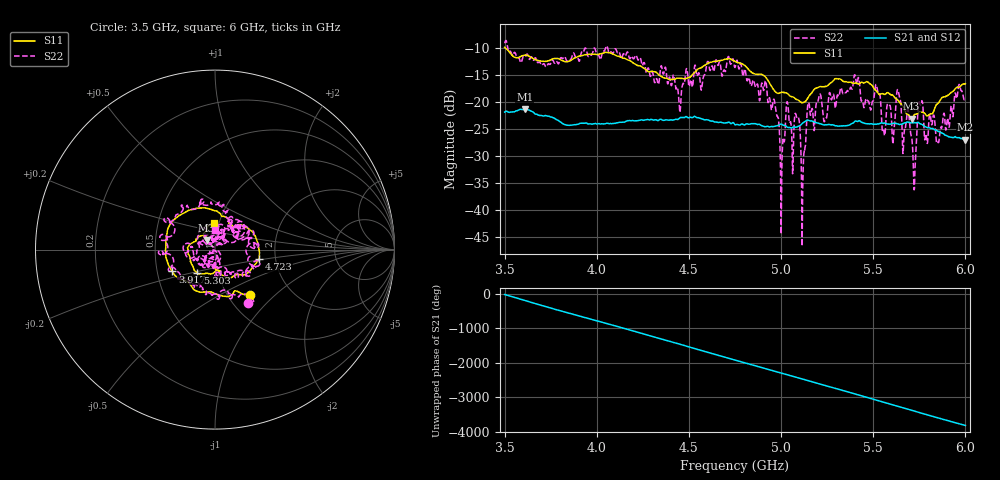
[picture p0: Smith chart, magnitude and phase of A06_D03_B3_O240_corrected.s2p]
! Created with skrf 1.9.0 (http://scikit-rf.org).
# Hz S RI R 50.0
!freq ReS11 ImS11 ReS21 ImS21 ReS12 ImS12 ReS22 ImS22
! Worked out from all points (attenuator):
!   1601 points, 3.5 GHz to 6 GHz, reference 50 ohm
!   highest |S21| = -21.39 dB at 3.609 GHz (marker M1); lowest = -27.0 dB at 6 GHz (marker M2)
!   lowest |S11| = -23.1 dB at 5.708 GHz (marker M3), VSWR 1.15, Z = 45.3 + j4.73 ohm
!   |S11| at or under -10 dB: 3.504 GHz to end of sweep
!   |S22| runs from -46.8 to -8.6 dB; largest |S21 - S12| = 0.0011
!   S11 on the Smith chart (normalised r, x): 3.5 GHz: 1.26, -0.71; 3.917 GHz: 0.60, -0.16; 4.723 GHz: 1.63, -0.18; 5.303 GHz: 0.79, -0.21; 6 GHz: 0.94, +0.28
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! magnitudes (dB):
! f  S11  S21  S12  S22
! 3.5 GHz  -9.9  -21.9  -21.9  -9.1
! 3.609 GHz  -11.3  -21.4  -21.4  -11.8
! 3.917 GHz  -11.5  -24.0  -24.0  -10.8
! 4.334 GHz  -14.9  -23.5  -23.4  -16.8
! 4.723 GHz  -12.1  -23.9  -23.9  -12.8
! 4.75 GHz  -12.5  -24.2  -24.2  -13.6
! 4.966 GHz  -18.0  -24.5  -24.5  -20.1
! 5.006 GHz  -18.2  -24.2  -24.2  -29.4
! 5.037 GHz  -18.6  -24.7  -24.7  -20.8
! 5.091 GHz  -19.7  -24.6  -24.6  -22.7
! 5.12 GHz  -20.1  -23.9  -23.8  -32.0
! 5.145 GHz  -19.3  -23.4  -23.4  -20.5
! 5.167 GHz  -18.3  -23.6  -23.5  -21.3
! 5.303 GHz  -15.7  -24.5  -24.4  -19.1
! 5.584 GHz  -18.4  -24.1  -24.1  -20.5
! 5.609 GHz  -18.9  -24.0  -23.9  -26.7
! 5.638 GHz  -19.8  -24.1  -24.1  -18.3
! 5.708 GHz  -23.1  -23.9  -23.8  -26.5
! 5.725 GHz  -22.3  -23.8  -23.8  -34.2
! 5.756 GHz  -21.8  -24.1  -24.0  -20.6
! 5.85 GHz  -20.3  -25.4  -25.4  -27.4
! 6 GHz  -16.6  -27.0  -26.9  -19.3
